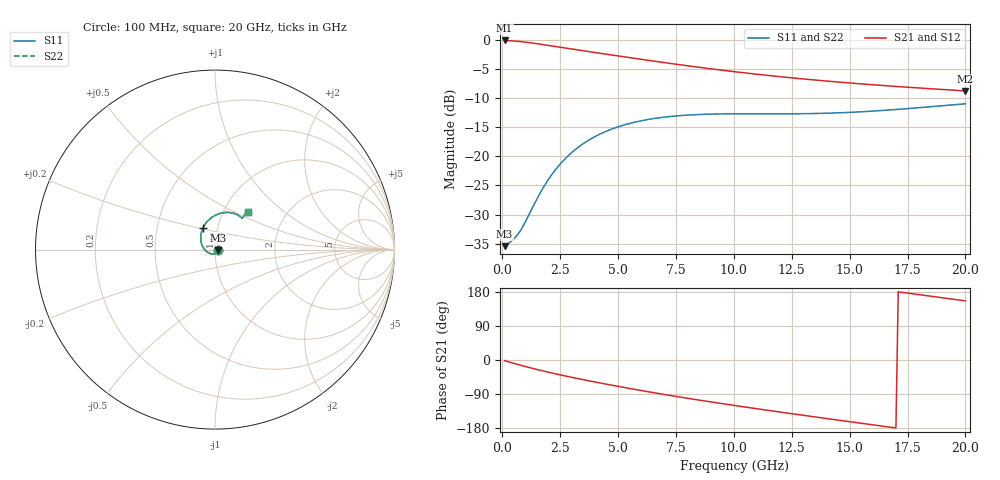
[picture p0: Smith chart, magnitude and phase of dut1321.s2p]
! Touchstone file exported from HFSS 2024.1.0
!  File:  C:/UserFiles/LocalFiles/RDL_TSV_Batchsim/temp_RDL_TSV_1321_1780387257.aedt
!  Generated:  04:13:10 PM Jun  2, 2026
!  Design:  RDL_TSV
!  Project:  temp_RDL_TSV_1321_1780387257
!  Setup:  Setup1
!  Solution:  Sweep
! Variables:
!  dtsv = 12.26um
!  hbump = 3um
!  htsv = 75.88um
!  ldown = 510.38um
!  lrdl = 324.7um
!  p = 40
!  p1 = 43.59um
!  rhole = 10um
!  subl = 2829.94um
!  t = 450um
!  tdown = 3.85um
!  trdl = 2.31um
!  viad = 10um
!  wdown = 29.37um
!  wrdl = 17.37um
!  xbump = 18um
# GHz S MA R 50.000000
! Terminal data exported
! Port[1] = TM1_1_T1
! Port[2] = TM1_4_T1
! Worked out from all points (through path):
!   200 points, 100 MHz to 20 GHz, reference 50 ohm
!   highest |S21| = -0.15 dB at 100 MHz (marker M1); lowest = -8.8 dB at 20 GHz (marker M2)
!   group delay of S21, straight-line fit = 26.9 ps
!   lowest |S11| = -35.4 dB at 100 MHz (marker M3), VSWR 1.03, Z = 51.7 - j0.301 ohm
!   |S11| at or under -10 dB: start of sweep to end of sweep
!   |S22| runs from -35.4 to -11.0 dB; largest |S21 - S12| = 2.4e-14
!   S11 on the Smith chart (normalised r, x): 100 MHz: 1.03, -0.01; 3.7 GHz: 0.85, +0.20; 20 GHz: 1.30, +0.60
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0.1  0.01696 -9.9  0.9826 -1.8  0.9826 -1.8  0.01696 -9.9
! Gamma 0 0 0 0
! Port Impedance 50 0 50 0
0.5  0.01958 -57.9  0.9723 -8.9  0.9723 -8.9  0.01958 -57.9
0.7  0.02179 -83.1  0.9646 -12.3  0.9646 -12.3  0.02179 -83.1
1.2  0.03296 -136.0  0.9396 -20.5  0.9396 -20.5  0.03294 -135.9
1.7  0.05099 -171.2  0.9095 -28.1  0.9095 -28.1  0.05092 -171.2
2.1  0.06797 168.8  0.8844 -33.8  0.8844 -33.8  0.06785 168.8
2.5  0.08571 153.1  0.8597 -39.2  0.8597 -39.2  0.08554 153.1
3  0.1076 137.3  0.8299 -45.8  0.8299 -45.8  0.1074 137.4
3.5  0.1284 124.5  0.8016 -52.0  0.8016 -52.0  0.1281 124.6
3.7  0.1362 120.0  0.7906 -54.4  0.7906 -54.4  0.1358 120.0
4.4  0.1609 106.4  0.7538 -62.8  0.7538 -62.8  0.1605 106.4
5.1  0.1813 95.2  0.7191 -70.8  0.7191 -70.8  0.1808 95.2
5.9  0.1995 84.7  0.6818 -79.5  0.6818 -79.5  0.1989 84.7
6.8  0.214 75.2  0.6429 -89.0  0.6429 -89.0  0.2134 75.1
8.4  0.2275 62.8  0.5819 -104.9  0.5819 -104.9  0.2269 62.8
10.1  0.2312 54.6  0.5283 -120.7  0.5283 -120.7  0.2306 54.6
11.7  0.231 50.6  0.4873 -134.8  0.4873 -134.8  0.2305 50.6
13.4  0.2322 49.1  0.4519 -149.4  0.4519 -149.4  0.2317 49.0
15  0.2376 49.1  0.4246 -162.8  0.4246 -162.8  0.2371 49.0
16.7  0.2489 49.6  0.4004 -176.9  0.4004 -176.9  0.2484 49.5
18.3  0.2637 49.6  0.381 170.0  0.381 170.0  0.2631 49.5
20  0.2815 48.8  0.3631 156.1  0.3631 156.1  0.2808 48.7
